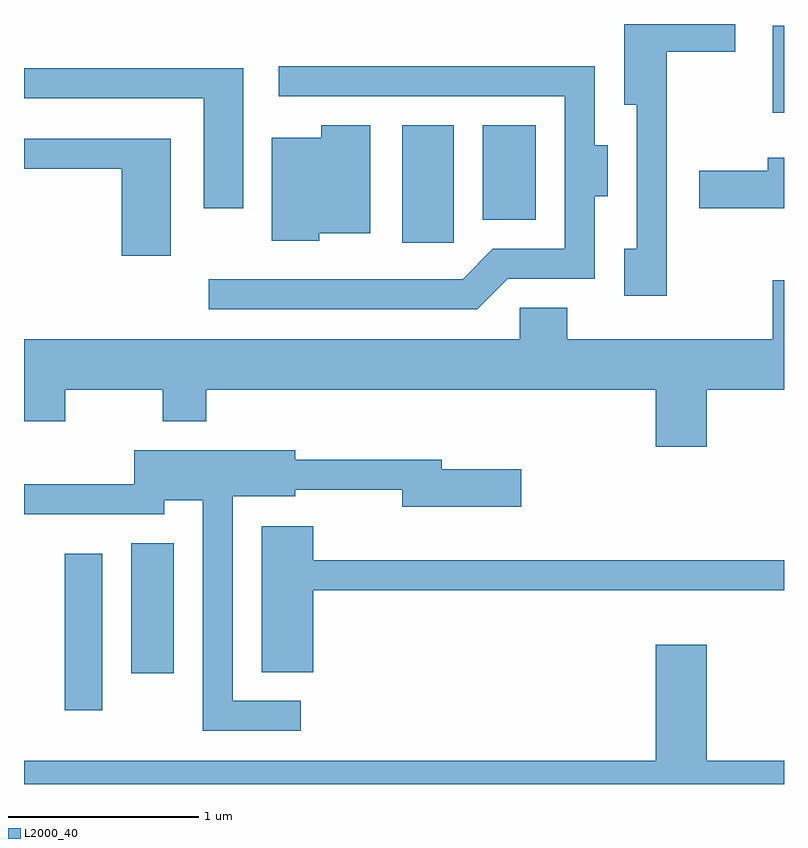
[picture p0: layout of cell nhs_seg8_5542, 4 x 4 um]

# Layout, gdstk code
import gdstk
lib = gdstk.Library(unit=1e-6, precision=1e-09)
def R(c, l, rs):  # rectangles x0, y0, x1, y1
    for r in rs: c.add(gdstk.rectangle(r[:2], r[2:], *l))
def P(c, l, *ps):  # polygons
    for p in ps: c.add(gdstk.Polygon(p, *l))
L2000_40 = (2000, 40)

nhs_seg8_5542 = lib.new_cell('nhs_seg8_5542')
R(nhs_seg8_5542, L2000_40, [(351.826,1834.731,352.024,1835.554), (352.176,1834.926,352.399,1835.609), (353.601,1837.191,353.874,1837.809), (354.026,1837.311,354.304,1837.809), (355.551,1837.876,355.611,1838.334)])
P(nhs_seg8_5542, L2000_40, [(354.994,1838.196),(355.354,1838.196),(355.354,1838.342),(354.771,1838.342),(354.771,1837.916),(354.836,1837.916),(354.836,1837.159),(354.771,1837.159),(354.771,1836.911),(354.994,1836.911)],
  [(354.157,1837.001),(354.614,1837.001),(354.614,1837.436),(354.684,1837.436),(354.684,1837.704),(354.614,1837.704),(354.614,1838.119),(352.953,1838.119),(352.953,1837.961),(354.456,1837.961),(354.456,1837.159),(354.079,1837.159),(353.919,1836.999),(352.583,1836.999),(352.583,1836.841),(353.997,1836.841)],
  [(352.764,1838.109),(351.611,1838.109),(351.611,1837.951),(352.556,1837.951),(352.556,1837.371),(352.764,1837.371)],
  [(353.164,1837.241),(353.434,1837.241),(353.434,1837.809),(353.176,1837.809),(353.176,1837.744),(352.916,1837.744),(352.916,1837.201),(353.164,1837.201)],
  [(352.384,1837.739),(351.611,1837.739),(351.611,1837.581),(352.126,1837.581),(352.126,1837.121),(352.384,1837.121)],
  [(355.611,1837.639),(355.526,1837.639),(355.526,1837.569),(355.166,1837.569),(355.166,1837.371),(355.611,1837.371)],
  [(355.204,1836.416),(355.611,1836.416),(355.611,1836.994),(355.551,1836.994),(355.551,1836.684),(354.469,1836.684),(354.469,1836.849),(354.221,1836.849),(354.221,1836.684),(351.611,1836.684),(351.611,1836.251),(351.829,1836.251),(351.829,1836.416),(352.341,1836.416),(352.341,1836.251),(352.569,1836.251),(352.569,1836.416),(354.936,1836.416),(354.936,1836.116),(355.204,1836.116)],
  [(353.068,1834.779),(352.709,1834.779),(352.709,1835.856),(353.039,1835.856),(353.039,1835.891),(353.601,1835.891),(353.601,1835.801),(354.229,1835.801),(354.229,1835.999),(353.809,1835.999),(353.809,1836.049),(353.039,1836.049),(353.039,1836.099),(352.191,1836.099),(352.191,1835.919),(351.611,1835.919),(351.611,1835.761),(352.349,1835.761),(352.349,1835.836),(352.551,1835.836),(352.551,1834.621),(353.068,1834.621)],
  [(353.134,1835.361),(355.611,1835.361),(355.611,1835.519),(353.134,1835.519),(353.134,1835.699),(352.861,1835.699),(352.861,1834.931),(353.134,1834.931)],
  [(355.611,1834.464),(355.204,1834.464),(355.204,1835.074),(354.936,1835.074),(354.936,1834.464),(351.611,1834.464),(351.611,1834.342),(355.611,1834.342)])

lib.write_gds('nhs_seg8_5542.gds')
